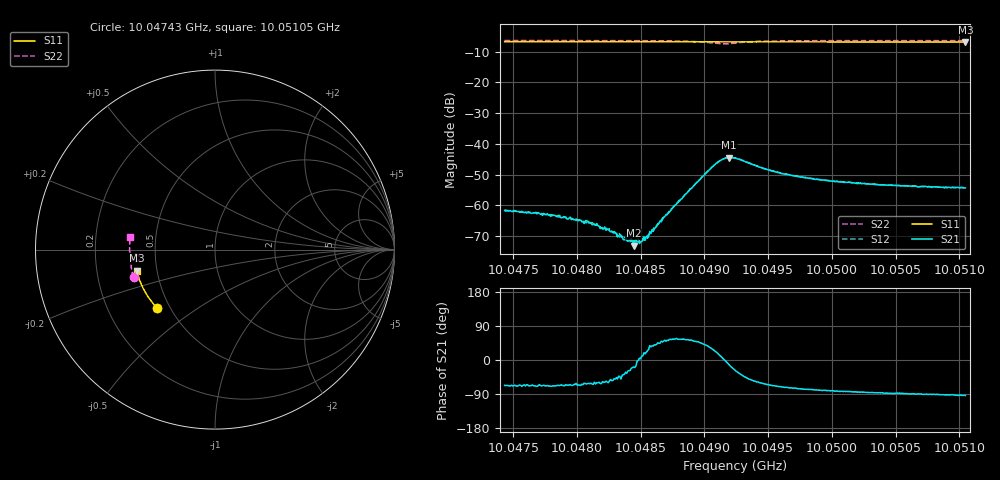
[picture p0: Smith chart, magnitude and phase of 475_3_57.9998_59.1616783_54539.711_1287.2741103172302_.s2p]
#  HZ  S  RI  R  50.00
! Rohde & Schwarz Vector Network Analyzer
! Rohde-Schwarz,ZNB20-2Port,1311601062101988,3.16
! Created: UTC 3/21/2024, 1:11:38 AM
! freq[Hz]  re:S11  im:S11  re:S21  im:S21  re:S12  im:S12  re:S22  im:S22
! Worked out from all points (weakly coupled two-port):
!   401 points, 10.04743 GHz to 10.05105 GHz, reference 50 ohm
!   highest |S21| = -44.47 dB at 10.04919 GHz (marker M1); lowest = -73.2 dB at 10.04844 GHz (marker M2)
!   lowest |S11| = -6.9 dB at 10.05105 GHz (marker M3), VSWR 2.65, Z = 19.1 - j5.64 ohm
!   |S11| at or under -10 dB: nowhere
!   |S22| runs from -7.5 to -6.4 dB; largest |S21 - S12| = 0.00042
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1.0047431e10  -0.3248 -0.3236  0.000322 -0.000759  0.000401 -0.000754  -0.4536 -0.1543
1.0047684e10  -0.3359 -0.311  0.000251 -0.000681  0.000354 -0.000674  -0.4584 -0.1376
1.0047865e10  -0.3437 -0.3019  0.000252 -0.000602  0.000308 -0.000608  -0.4614 -0.1252
1.0048037e10  -0.3509 -0.2931  0.000237 -0.000487  0.000279 -0.000458  -0.4639 -0.1134
1.0048082e10  -0.3526 -0.2907  0.000257 -0.000494  0.00028 -0.00047  -0.4644 -0.1102
1.0048236e10  -0.3589 -0.2827  0.000218 -0.000351  0.000247 -0.00033  -0.4664 -0.0991
1.0048381e10  -0.3644 -0.2751  0.000236 -0.00015  0.000236 -0.000174  -0.4676 -0.088
1.0048435e10  -0.3665 -0.2721  0.000244 -8.84e-05  0.000212 -8.44e-05  -0.4679 -0.0837
1.0048444e10  -0.3668 -0.2717  0.000208 -7.11e-05  0.000272 -3.98e-05  -0.4681 -0.0831
1.0048498e10  -0.3688 -0.2687  0.000254 1.43e-05  0.000248 2.68e-05  -0.4685 -0.0786
1.0048516e10  -0.3695 -0.2677  0.000265 5.23e-05  0.000279 8.58e-05  -0.4684 -0.0771
1.0048543e10  -0.3705 -0.2663  0.000293 0.000111  0.000259 0.000119  -0.4683 -0.0749
1.0048643e10  -0.3741 -0.2608  0.00037 0.000356  0.000331 0.000382  -0.4681 -0.0661
1.0048679e10  -0.3755 -0.2588  0.000413 0.000483  0.000377 0.000521  -0.468 -0.0628
1.004905e10  -0.388 -0.2377  0.00341 0.0021  0.00328 0.00231  -0.4388 -0.0274
1.0049131e10  -0.3903 -0.2331  0.00538 0.000816  0.00536 0.00117  -0.4219 -0.037
1.0049195e10  -0.3921 -0.2298  0.00583 -0.00132  0.00596 -0.000953  -0.4211 -0.0542
1.004924e10  -0.3937 -0.2273  0.0052 -0.00264  0.00542 -0.00231  -0.4288 -0.0634
1.0049529e10  -0.4029 -0.2107  0.0014 -0.00334  0.00163 -0.00328  -0.4674 -0.0459
1.0049846e10  -0.4116 -0.1918  0.000559 -0.00265  0.00071 -0.00263  -0.4747 -0.0173
1.0050451e10  -0.4258 -0.1546  7.42e-05 -0.00212  0.000212 -0.00212  -0.4752 0.0279
1.0051048e10  -0.4367 -0.1172  -0.000122 -0.00191  1.06e-05 -0.00192  -0.471 0.0686
